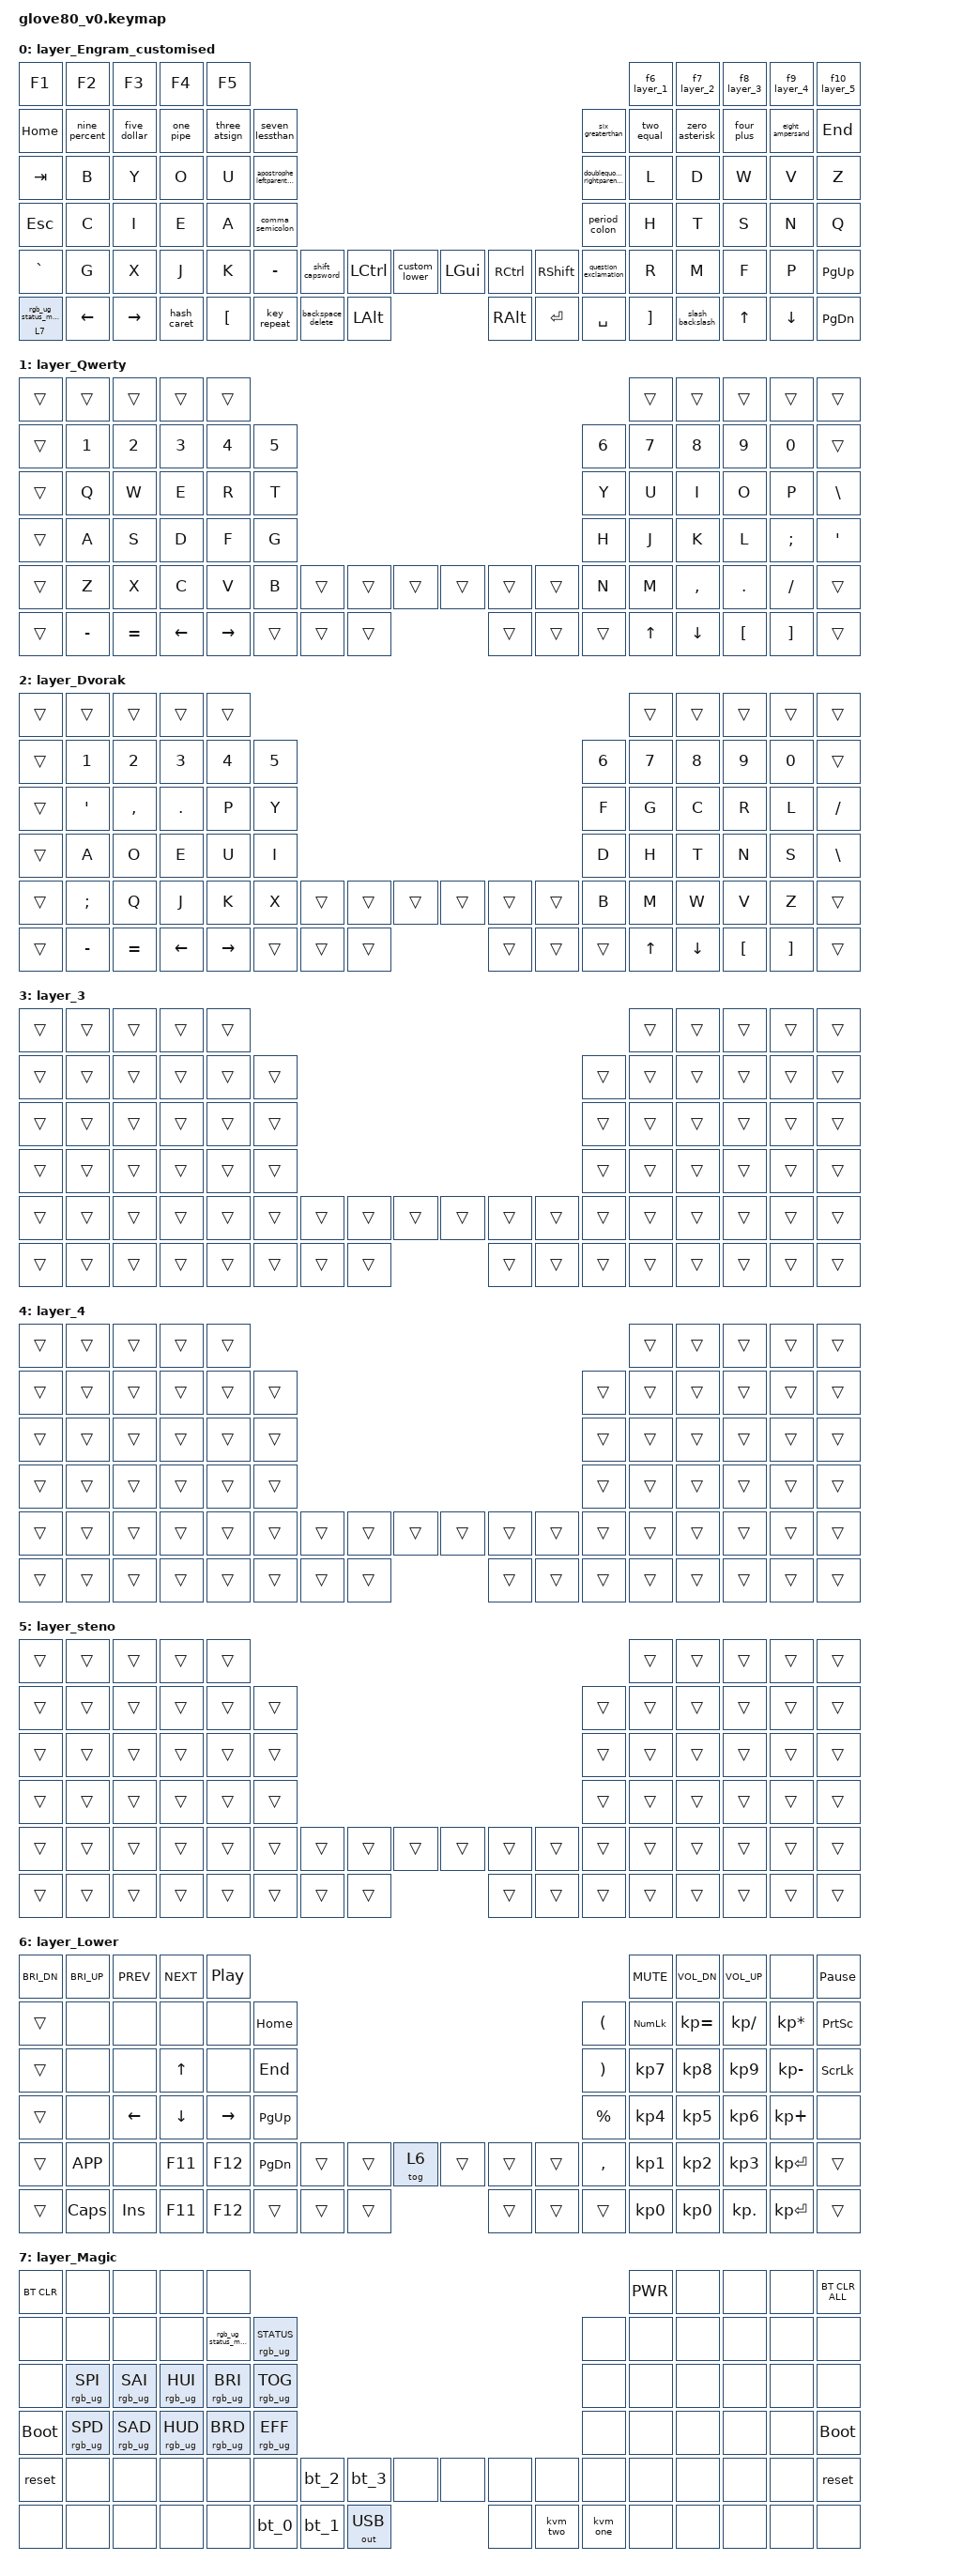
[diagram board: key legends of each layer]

/*
 * Copyright (c) 2020 The ZMK Contributors
 * Copyright (c) 2022 Innaworks Development Limited, trading as MoErgo
 *
 * SPDX-License-Identifier: MIT
 */


/* THIS FILE WAS GENERATED BY GLOVE80 LAYOUT EDITOR
 *
 * This file was generated automatically. You may or may not want to
 * edit it directly.
 */

#include <behaviors.dtsi>
/* Include all behaviour includes needed by system behaviors/macros */
#include <dt-bindings/zmk/outputs.h>

/* Include behaviour includes needed by key binds - automatically generated */
#include <dt-bindings/zmk/keys.h>
#include <dt-bindings/zmk/bt.h>
#include <dt-bindings/zmk/rgb.h>
#include <dt-bindings/zmk/outputs.h>


/ {
    /* Glove80 system behavior & macros */
    behaviors {
        // For the "layer" key, it'd nice to be able to use it as either a shift or a toggle.
        // Configure it as a tap dance, so the first tap (or hold) is a &mo and the second tap is a &to
        lower: tap_dance_0 {
            compatible = "zmk,behavior-tap-dance";
            label = "LAYER_TAP_DANCE";
            #binding-cells = <0>;
            tapping-term-ms = <200>;
            bindings = <&mo 1>, <&to 1>;
        };
    };
};

/ {
    macros {
        rgb_ug_status_macro: rgb_ug_status_macro_0 {
            label = "RGB_UG_STATUS";
            compatible = "zmk,behavior-macro";
            #binding-cells = <0>;
            bindings
                = <&rgb_ug RGB_STATUS>;
        };

        bt_0: bt_profile_macro_0 {
            label = "BT_0";
            compatible = "zmk,behavior-macro";
            #binding-cells = <0>;
            bindings
                = <&out OUT_BLE>,
                  <&bt BT_SEL 0>;
        };

        bt_1: bt_profile_macro_1 {
            label = "BT_1";
            compatible = "zmk,behavior-macro";
            #binding-cells = <0>;
            bindings
                = <&out OUT_BLE>,
                  <&bt BT_SEL 1>;
        };

        bt_2: bt_profile_macro_2 {
            label = "BT_2";
            compatible = "zmk,behavior-macro";
            #binding-cells = <0>;
            bindings
                = <&out OUT_BLE>,
                  <&bt BT_SEL 2>;
        };

        bt_3: bt_profile_macro_3 {
            label = "BT_3";
            compatible = "zmk,behavior-macro";
            #binding-cells = <0>;
            bindings
                = <&out OUT_BLE>,
                  <&bt BT_SEL 3>;
        };
    };
};

/ {
    magic: magic_hold_tap {
        compatible = "zmk,behavior-hold-tap";
        label = "MAGIC_HOLD_TAP";
        #binding-cells = <2>;
        flavor = "tap-preferred";
        tapping-term-ms = <200>;
        bindings = <&mo>, <&rgb_ug_status_macro>;
    };
};

    /* Custom Defined Behaviors */
/ {
    #define QUICK_TAP_MS 0
#define TAPPING_TERM_MS 200
#define TAPPING_THUMB_TERM_MS 400
#define COMBO_TIMEOUT_MS 50
#define COMBO_TERM_FAST 14
#define COMBO_TERM_NORMAL 20
#define COMBO_TERM_SLOW 45
#define WAIT_MS 40
#define VERY_SLOW_WAIT_MS 300
#define TAP_MS 40
#define COMBO_LAYERS 0 1 2 3 4 6

#define COMBO(NAME, BINDINGS, KEYPOS, LAYERS, MS) \
  combo_##NAME { \
    bindings = <BINDINGS>; \
    key-positions = <KEYPOS>; \
    layers = <LAYERS>; \
    timeout-ms = <MS>; \
  };

combos {
    compatible = "zmk,combos";

    COMBO(cut, &kp LC(X), 36 48, COMBO_LAYERS, COMBO_TERM_NORMAL)
    COMBO(copy, &kp LC(C), 37 49, COMBO_LAYERS, COMBO_TERM_NORMAL)
    COMBO(paste, &kp LC(V), 38 50, COMBO_LAYERS, COMBO_TERM_NORMAL)
    COMBO(undo, &kp LC(Z), 35 47, COMBO_LAYERS, COMBO_TERM_NORMAL)
    COMBO(selectall, &kp LC(A), 23 35, COMBO_LAYERS, COMBO_TERM_NORMAL)
    COMBO(capslock, &kp CAPS, 52 57, COMBO_LAYERS, COMBO_TERM_SLOW)
    COMBO(home, &kp HOME, 66 67, COMBO_LAYERS, COMBO_TERM_NORMAL)
    COMBO(pageup, &kp PAGE_UP, 67 68, COMBO_LAYERS, COMBO_TERM_NORMAL)
    COMBO(space, &kp SPACE, 69 70, COMBO_LAYERS, COMBO_TERM_NORMAL)
    COMBO(delete, &kp DELETE, 70 71, COMBO_LAYERS, COMBO_TERM_NORMAL)
    COMBO(backspace, &kp BACKSPACE, 73 74, COMBO_LAYERS, COMBO_TERM_NORMAL)
    COMBO(pagedown, &kp PAGE_DOWN, 75 76, COMBO_LAYERS, COMBO_TERM_NORMAL)
    COMBO(end, &kp END, 76 77, COMBO_LAYERS, COMBO_TERM_NORMAL)
    COMBO(printscreen, &kp PRINTSCREEN, 20 32, COMBO_LAYERS, COMBO_TERM_NORMAL)
    COMBO(gmailmoveto, &gmailmoveto, 45 63, COMBO_LAYERS, COMBO_TERM_NORMAL)
};

macros {
    kvm_one: kvm_one{
        label = "kvm_one";
        compatible = "zmk,behavior-macro";
        #binding-cells = <0>;
        wait-ms = <VERY_SLOW_WAIT_MS>;
        tap-ms = <TAP_MS>;
        bindings = <&kp RCTRL &kp RCTRL &kp N1>;
    };
    kvm_two: kvm_two{
        label = "kvm_two";
        compatible = "zmk,behavior-macro";
        #binding-cells = <0>;
        wait-ms = <VERY_SLOW_WAIT_MS>;
        tap-ms = <TAP_MS>;
        bindings = <&kp RCTRL &kp RCTRL &kp N2>;
    };
    gmailmoveto: gmailmoveto{
        label = "gmailmoveto";
        compatible = "zmk,behavior-macro";
        #binding-cells = <0>;
        wait-ms = <VERY_SLOW_WAIT_MS>;
        tap-ms = <TAP_MS>;
        bindings = <&kp V &kp S &kp ENTER>;
    };
    tog_ug_1: tog_ug_1 {
        label = "tog_ug_1";
        compatible = "zmk,behavior-macro";
        #binding-cells = <0>;
        wait-ms = <WAIT_MS>;
        tap-ms = <TAP_MS>;
        bindings = <&tog 1>, <&rgb_ug_status_macro>;
    };
    tog_ug_2: tog_ug_2 {
        label = "tog_ug_2";
        compatible = "zmk,behavior-macro";
        #binding-cells = <0>;
        wait-ms = <WAIT_MS>;
        tap-ms = <TAP_MS>;
        bindings = <&tog 2>, <&rgb_ug_status_macro>;
    };
    tog_ug_3: tog_ug_3 {
        label = "tog_ug_3";
        compatible = "zmk,behavior-macro";
        #binding-cells = <0>;
        wait-ms = <WAIT_MS>;
        tap-ms = <TAP_MS>;
        bindings = <&tog 3>, <&rgb_ug_status_macro>;
    };
    tog_ug_4: tog_ug_4 {
        label = "tog_ug_4";
        compatible = "zmk,behavior-macro";
        #binding-cells = <0>;
        wait-ms = <WAIT_MS>;
        tap-ms = <TAP_MS>;
        bindings = <&tog 4>, <&rgb_ug_status_macro>;
    };
    tog_ug_5: tog_ug_5 {
        label = "tog_ug_5";
        compatible = "zmk,behavior-macro";
        #binding-cells = <0>;
        wait-ms = <WAIT_MS>;
        tap-ms = <TAP_MS>;
        bindings = <&tog 5>, <&rgb_ug_status_macro>;
    };
};

behaviors {
    ht: hold_tap {
        compatible = "zmk,behavior-hold-tap";
        label = "HOLD_TAP";
        #binding-cells = <2>;
        flavor = "tap-preferred";
        tapping-term-ms = <TAPPING_TERM_MS>;
        quick-tap-ms = <QUICK_TAP_MS>;
        bindings = <&kp>, <&kp>;
    };
    shift_capsword: td_shift_capsword {
        compatible = "zmk,behavior-tap-dance";
        label = "SHIFT_CAPSWORD";
        #binding-cells = <0>;
        tapping-term-ms = <TAPPING_THUMB_TERM_MS>;
        bindings = <&kp LSHFT>, <&caps_word>;
    };
    f6_layer_1: td_f6_layer_1 {
        compatible = "zmk,behavior-tap-dance";
        label = "F6_LAYER_1";
        #binding-cells = <0>;
        tapping-term-ms = <TAPPING_TERM_MS>;
        bindings = <&kp F6>, <&tog_ug_1>;
    };
    f7_layer_2: td_f7_layer_2 {
        compatible = "zmk,behavior-tap-dance";
        label = "F7_LAYER_2";
        #binding-cells = <0>;
        tapping-term-ms = <TAPPING_TERM_MS>;
        bindings = <&kp F7>, <&tog_ug_2>;
    };
    f8_layer_3: td_f8_layer_3 {
        compatible = "zmk,behavior-tap-dance";
        label = "F8_LAYER_3";
        #binding-cells = <0>;
        tapping-term-ms = <TAPPING_TERM_MS>;
        bindings = <&kp F8>, <&tog_ug_3>;
    };
    f9_layer_4: td_f9_layer_4 {
        compatible = "zmk,behavior-tap-dance";
        label = "F9_LAYER_4";
        #binding-cells = <0>;
        tapping-term-ms = <TAPPING_TERM_MS>;
        bindings = <&kp F9>, <&tog_ug_4>;
    };
    f10_layer_5: td_f10_layer_5 {
        compatible = "zmk,behavior-tap-dance";
        label = "F10_LAYER_5";
        #binding-cells = <0>;
        tapping-term-ms = <TAPPING_TERM_MS>;
        bindings = <&kp F10>, <&tog_ug_5>;
    };
    custom_lower: tap_dance_1 {
        compatible = "zmk,behavior-tap-dance";
        label = "CUSTOM_LAYER_TAP_DANCE";
        #binding-cells = <0>;
        tapping-term-ms = <TAPPING_TERM_MS>;
        bindings = <&mo 6>, <&tog 6>;
    };
    apostrophe_leftparenthesis: apostrophe_leftparenthesis {
        compatible = "zmk,behavior-mod-morph";
        label = "apostrophe_leftparenthesis";
        #binding-cells = <0>;
        bindings = <&kp APOSTROPHE>, <&kp LEFT_PARENTHESIS>;
        mods = <(MOD_LSFT|MOD_RSFT)>;
    };
    doublequotes_rightparenthesis: doublequotes_rightparenthesis{
        compatible = "zmk,behavior-mod-morph";
        label = "doublequotes_rightparenthesis";
        #binding-cells = <0>;
        bindings = <&kp DOUBLE_QUOTES>, <&kp RIGHT_PARENTHESIS>;
        mods = <(MOD_LSFT|MOD_RSFT)>;
    };
    comma_semicolon: comma_semicolon {
        compatible = "zmk,behavior-mod-morph";
        label = "comma_semicolon";
        #binding-cells = <0>;
        bindings = <&kp COMMA>, <&kp SEMICOLON>;
        mods = <(MOD_LSFT|MOD_RSFT)>;
    };
    period_colon: period_colon {
        compatible = "zmk,behavior-mod-morph";
        label = "period_colon";
        #binding-cells = <0>;
        bindings = <&kp PERIOD>, <&kp COLON>;
        mods = <(MOD_LSFT|MOD_RSFT)>;
    };
    question_exclamation: question_exclamation {
        compatible = "zmk,behavior-mod-morph";
        label = "question_exclamation";
        #binding-cells = <0>;
        bindings = <&kp QUESTION>, <&kp EXCLAMATION>;
        mods = <(MOD_LSFT|MOD_RSFT)>;
    };
    one_pipe: one_pipe {
        compatible = "zmk,behavior-mod-morph";
        label = "one_pipe";
        #binding-cells = <0>;
        bindings = <&kp N1>, <&kp PIPE>;
        mods = <(MOD_LSFT|MOD_RSFT)>;
    };
    two_equal: two_equal {
        compatible = "zmk,behavior-mod-morph";
        label = "two_equal";
        #binding-cells = <0>;
        bindings = <&kp N2>, <&kp EQUAL>;
        mods = <(MOD_LSFT|MOD_RSFT)>;
    };
    three_atsign: three_atsign {
        compatible = "zmk,behavior-mod-morph";
        label = "three_atsign";
        #binding-cells = <0>;
        bindings = <&kp N3>, <&kp AT_SIGN>;
        mods = <(MOD_LSFT|MOD_RSFT)>;
    };
    four_plus: four_plus {
        compatible = "zmk,behavior-mod-morph";
        label = "four_plus";
        #binding-cells = <0>;
        bindings = <&kp N4>, <&kp PLUS>;
        mods = <(MOD_LSFT|MOD_RSFT)>;
    };
    five_dollar: five_dollar {
        compatible = "zmk,behavior-mod-morph";
        label = "five_dollar";
        #binding-cells = <0>;
        bindings = <&kp N5>, <&kp DOLLAR>;
        mods = <(MOD_LSFT|MOD_RSFT)>;
    };
    six_greaterthan: six_greaterthan {
        compatible = "zmk,behavior-mod-morph";
        label = "six_greaterthan";
        #binding-cells = <0>;
        bindings = <&kp N6>, <&kp GREATER_THAN>;
        mods = <(MOD_LSFT|MOD_RSFT)>;
    };
    seven_lessthan: seven_lessthan {
        compatible = "zmk,behavior-mod-morph";
        label = "seven_lessthan";
        #binding-cells = <0>;
        bindings = <&kp N7>, <&kp LESS_THAN>;
        mods = <(MOD_LSFT|MOD_RSFT)>;
    };
    eight_ampersand: eight_ampersand {
        compatible = "zmk,behavior-mod-morph";
        label = "eight_ampersand";
        #binding-cells = <0>;
        bindings = <&kp N8>, <&kp AMPERSAND>;
        mods = <(MOD_LSFT|MOD_RSFT)>;
    };
    nine_percent: nine_percent {
        compatible = "zmk,behavior-mod-morph";
        label = "nine_percent";
        #binding-cells = <0>;
        bindings = <&kp N9>, <&kp PERCENT>;
        mods = <(MOD_LSFT|MOD_RSFT)>;
    };
    zero_asterisk: zero_asterisk {
        compatible = "zmk,behavior-mod-morph";
        label = "zero_asterisk";
        #binding-cells = <0>;
        bindings = <&kp N0>, <&kp ASTERISK>;
        mods = <(MOD_LSFT|MOD_RSFT)>;
    };
    hash_caret: hash_caret {
        compatible = "zmk,behavior-mod-morph";
        label = "hash_caret";
        #binding-cells = <0>;
        bindings = <&kp HASH>, <&kp CARET>;
        mods = <(MOD_LSFT|MOD_RSFT)>;
    };
    slash_backslash: slash_backslash {
        compatible = "zmk,behavior-mod-morph";
        label = "slash_backslash";
        #binding-cells = <0>;
        bindings = <&kp SLASH>, <&kp BACKSLASH>;
        mods = <(MOD_LSFT|MOD_RSFT)>;
    };
    backspace_delete: backspace_delete {
        compatible = "zmk,behavior-mod-morph";
        label = "backspace_delete";
        #binding-cells = <0>;
        bindings = <&kp BACKSPACE>, <&kp LS(DELETE)>;
        mods = <(MOD_LSFT|MOD_RSFT)>;
    };
};

};

    /* Automatically generated keymap */
/ {
    keymap {
        compatible = "zmk,keymap";


        layer_Engram_customised {
            bindings = <
     &kp F1         &kp F2        &kp F3       &kp F4         &kp F5                                                                                                                                                  &f6_layer_1       &f7_layer_2  &f8_layer_3       &f9_layer_4  &f10_layer_5
   &kp HOME  &nine_percent  &five_dollar    &one_pipe  &three_atsign              &seven_lessthan                                                                                                   &six_greaterthan   &two_equal    &zero_asterisk   &four_plus  &eight_ampersand       &kp END
    &kp TAB          &kp B         &kp Y        &kp O          &kp U  &apostrophe_leftparenthesis                                                                                     &doublequotes_rightparenthesis        &kp L             &kp D        &kp W             &kp V         &kp Z
    &kp ESC          &kp C         &kp I        &kp E          &kp A             &comma_semicolon                                                                                                      &period_colon        &kp H             &kp T        &kp S             &kp N         &kp Q
  &kp GRAVE          &kp G         &kp X        &kp J          &kp K                    &kp MINUS  &shift_capsword          &kp LCTRL  &custom_lower  &kp LGUI  &kp RCTRL  &kp RSHFT           &question_exclamation        &kp R             &kp M        &kp F             &kp P     &kp PG_UP
 &magic 7 0       &kp LEFT     &kp RIGHT  &hash_caret       &kp LBKT                                   &key_repeat  &backspace_delete       &kp LALT  &kp RALT    &kp RET  &kp SPACE                                     &kp RBKT  &slash_backslash       &kp UP          &kp DOWN     &kp PG_DN
            >;
        };

        layer_Qwerty {
            bindings = <
 &trans     &trans     &trans    &trans     &trans                                                                  &trans     &trans    &trans    &trans    &trans
 &trans     &kp N1     &kp N2    &kp N3     &kp N4  &kp N5                                                  &kp N6  &kp N7     &kp N8    &kp N9    &kp N0    &trans
 &trans      &kp Q      &kp W     &kp E      &kp R   &kp T                                                   &kp Y   &kp U      &kp I     &kp O     &kp P  &kp BSLH
 &trans      &kp A      &kp S     &kp D      &kp F   &kp G                                                   &kp H   &kp J      &kp K     &kp L  &kp SEMI   &kp SQT
 &trans      &kp Z      &kp X     &kp C      &kp V   &kp B  &trans  &trans  &trans  &trans  &trans  &trans   &kp N   &kp M  &kp COMMA   &kp DOT  &kp FSLH    &trans
 &trans  &kp MINUS  &kp EQUAL  &kp LEFT  &kp RIGHT          &trans  &trans  &trans  &trans  &trans  &trans          &kp UP   &kp DOWN  &kp LBKT  &kp RBKT    &trans
            >;
        };

        layer_Dvorak {
            bindings = <
 &trans     &trans     &trans    &trans     &trans                                                                  &trans    &trans    &trans    &trans    &trans
 &trans     &kp N1     &kp N2    &kp N3     &kp N4  &kp N5                                                  &kp N6  &kp N7    &kp N8    &kp N9    &kp N0    &trans
 &trans    &kp SQT  &kp COMMA   &kp DOT      &kp P   &kp Y                                                   &kp F   &kp G     &kp C     &kp R     &kp L  &kp FSLH
 &trans      &kp A      &kp O     &kp E      &kp U   &kp I                                                   &kp D   &kp H     &kp T     &kp N     &kp S  &kp BSLH
 &trans   &kp SEMI      &kp Q     &kp J      &kp K   &kp X  &trans  &trans  &trans  &trans  &trans  &trans   &kp B   &kp M     &kp W     &kp V     &kp Z    &trans
 &trans  &kp MINUS  &kp EQUAL  &kp LEFT  &kp RIGHT          &trans  &trans  &trans  &trans  &trans  &trans          &kp UP  &kp DOWN  &kp LBKT  &kp RBKT    &trans
            >;
        };

        layer_3 {
            bindings = <
 &trans  &trans  &trans  &trans  &trans                                                                  &trans  &trans  &trans  &trans  &trans
 &trans  &trans  &trans  &trans  &trans  &trans                                                  &trans  &trans  &trans  &trans  &trans  &trans
 &trans  &trans  &trans  &trans  &trans  &trans                                                  &trans  &trans  &trans  &trans  &trans  &trans
 &trans  &trans  &trans  &trans  &trans  &trans                                                  &trans  &trans  &trans  &trans  &trans  &trans
 &trans  &trans  &trans  &trans  &trans  &trans  &trans  &trans  &trans  &trans  &trans  &trans  &trans  &trans  &trans  &trans  &trans  &trans
 &trans  &trans  &trans  &trans  &trans          &trans  &trans  &trans  &trans  &trans  &trans          &trans  &trans  &trans  &trans  &trans
            >;
        };

        layer_4 {
            bindings = <
 &trans  &trans  &trans  &trans  &trans                                                                  &trans  &trans  &trans  &trans  &trans
 &trans  &trans  &trans  &trans  &trans  &trans                                                  &trans  &trans  &trans  &trans  &trans  &trans
 &trans  &trans  &trans  &trans  &trans  &trans                                                  &trans  &trans  &trans  &trans  &trans  &trans
 &trans  &trans  &trans  &trans  &trans  &trans                                                  &trans  &trans  &trans  &trans  &trans  &trans
 &trans  &trans  &trans  &trans  &trans  &trans  &trans  &trans  &trans  &trans  &trans  &trans  &trans  &trans  &trans  &trans  &trans  &trans
 &trans  &trans  &trans  &trans  &trans          &trans  &trans  &trans  &trans  &trans  &trans          &trans  &trans  &trans  &trans  &trans
            >;
        };

        layer_steno {
            bindings = <
 &trans  &trans  &trans  &trans  &trans                                                                  &trans  &trans  &trans  &trans  &trans
 &trans  &trans  &trans  &trans  &trans  &trans                                                  &trans  &trans  &trans  &trans  &trans  &trans
 &trans  &trans  &trans  &trans  &trans  &trans                                                  &trans  &trans  &trans  &trans  &trans  &trans
 &trans  &trans  &trans  &trans  &trans  &trans                                                  &trans  &trans  &trans  &trans  &trans  &trans
 &trans  &trans  &trans  &trans  &trans  &trans  &trans  &trans  &trans  &trans  &trans  &trans  &trans  &trans  &trans  &trans  &trans  &trans
 &trans  &trans  &trans  &trans  &trans          &trans  &trans  &trans  &trans  &trans  &trans          &trans  &trans  &trans  &trans  &trans
            >;
        };

        layer_Lower {
            bindings = <
 &kp C_BRI_DN  &kp C_BRI_UP  &kp C_PREV  &kp C_NEXT   &kp C_PP                                                                        &kp C_MUTE  &kp C_VOL_DN  &kp C_VOL_UP            &none  &kp PAUSE_BREAK
       &trans         &none       &none       &none      &none   &kp HOME                                                   &kp LPAR  &kp KP_NUM  &kp KP_EQUAL  &kp KP_SLASH  &kp KP_MULTIPLY        &kp PSCRN
       &trans         &none       &none      &kp UP      &none    &kp END                                                   &kp RPAR   &kp KP_N7     &kp KP_N8     &kp KP_N9     &kp KP_MINUS         &kp SLCK
       &trans         &none    &kp LEFT    &kp DOWN  &kp RIGHT  &kp PG_UP                                                  &kp PRCNT   &kp KP_N4     &kp KP_N5     &kp KP_N6      &kp KP_PLUS            &none
       &trans     &kp K_APP       &none     &kp F11    &kp F12  &kp PG_DN  &trans  &trans  &tog 6  &trans  &trans  &trans  &kp COMMA   &kp KP_N1     &kp KP_N2     &kp KP_N3     &kp KP_ENTER           &trans
       &trans      &kp CAPS     &kp INS     &kp F11    &kp F12             &trans  &trans  &trans  &trans  &trans  &trans              &kp KP_N0     &kp KP_N0    &kp KP_DOT     &kp KP_ENTER           &trans
            >;
        };

        layer_Magic {
            bindings = <
  &bt BT_CLR            &none            &none            &none                 &none                                                                                         &kp C_PWR   &none   &none   &none  &bt BT_CLR_ALL
       &none            &none            &none            &none  &rgb_ug_status_macro  &rgb_ug RGB_STATUS                                                             &none       &none   &none   &none   &none           &none
       &none  &rgb_ug RGB_SPI  &rgb_ug RGB_SAI  &rgb_ug RGB_HUI       &rgb_ug RGB_BRI     &rgb_ug RGB_TOG                                                             &none       &none   &none   &none   &none           &none
 &bootloader  &rgb_ug RGB_SPD  &rgb_ug RGB_SAD  &rgb_ug RGB_HUD       &rgb_ug RGB_BRD     &rgb_ug RGB_EFF                                                             &none       &none   &none   &none   &none     &bootloader
      &reset            &none            &none            &none                 &none               &none   &bt_2   &bt_3         &none   &none     &none     &none   &none       &none   &none   &none   &none          &reset
       &none            &none            &none            &none                 &none                       &bt_0   &bt_1  &out OUT_USB   &none  &kvm_two  &kvm_one               &none   &none   &none   &none           &none
            >;
        };

    };
};
